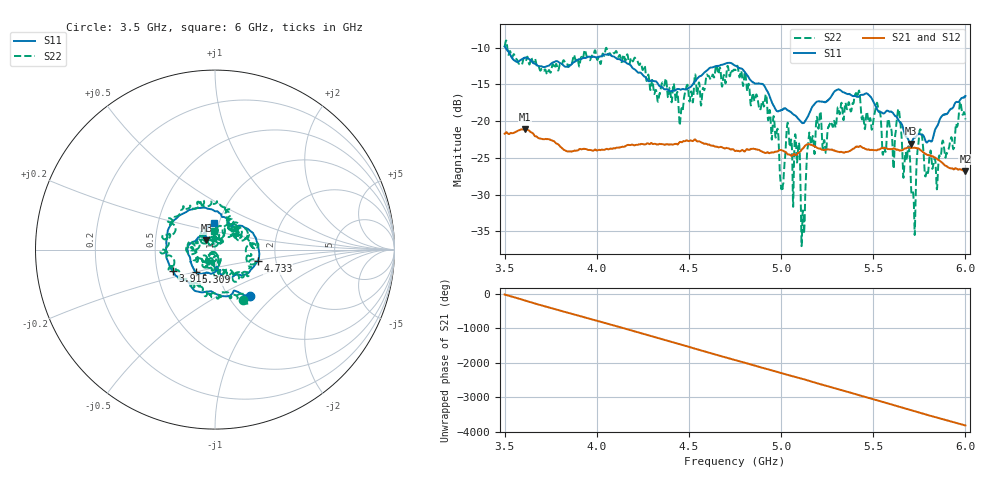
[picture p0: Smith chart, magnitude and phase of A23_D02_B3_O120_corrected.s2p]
! Created with skrf 1.9.0 (http://scikit-rf.org).
# Hz S RI R 50.0
!freq ReS11 ImS11 ReS21 ImS21 ReS12 ImS12 ReS22 ImS22
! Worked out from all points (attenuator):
!   1601 points, 3.5 GHz to 6 GHz, reference 50 ohm
!   highest |S21| = -21.10 dB at 3.611 GHz (marker M1); lowest = -26.8 dB at 6 GHz (marker M2)
!   lowest |S11| = -23.1 dB at 5.703 GHz (marker M3), VSWR 1.15, Z = 45.2 + j4.72 ohm
!   |S11| at or under -10 dB: 3.504 GHz to end of sweep
!   |S22| runs from -37.0 to -9.0 dB; largest |S21 - S12| = 0.0011
!   S11 on the Smith chart (normalised r, x): 3.5 GHz: 1.25, -0.72; 3.916 GHz: 0.60, -0.16; 4.733 GHz: 1.61, -0.22; 5.309 GHz: 0.79, -0.20; 6 GHz: 0.95, +0.29
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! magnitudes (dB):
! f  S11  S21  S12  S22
! 3.5 GHz  -9.9  -21.7  -21.7  -9.9
! 3.611 GHz  -11.4  -21.1  -21.1  -11.8
! 3.916 GHz  -11.6  -23.8  -23.8  -11.3
! 3.917 GHz  -11.6  -23.8  -23.8  -11.3
! 4.334 GHz  -15.1  -23.2  -23.1  -17.2
! 4.733 GHz  -12.2  -23.8  -23.8  -13.1
! 4.75 GHz  -12.5  -24.1  -24.0  -13.1
! 4.927 GHz  -16.0  -24.2  -24.2  -18.8
! 5.005 GHz  -18.4  -24.0  -24.0  -28.9
! 5.034 GHz  -18.5  -24.5  -24.4  -20.3
! 5.088 GHz  -19.5  -24.5  -24.5  -25.5
! 5.119 GHz  -20.3  -23.7  -23.6  -32.1
! 5.147 GHz  -19.3  -23.2  -23.1  -23.1
! 5.167 GHz  -18.2  -23.3  -23.2  -22.7
! 5.309 GHz  -15.7  -24.2  -24.1  -18.1
! 5.584 GHz  -18.7  -23.8  -23.8  -19.8
! 5.639 GHz  -20.0  -24.0  -23.9  -18.4
! 5.703 GHz  -23.1  -23.7  -23.6  -27.6
! 5.719 GHz  -22.4  -23.6  -23.6  -30.5
! 5.755 GHz  -21.8  -23.9  -23.8  -21.1
! 5.841 GHz  -20.9  -25.0  -25.0  -27.0
! 6 GHz  -16.6  -26.8  -26.7  -19.8
